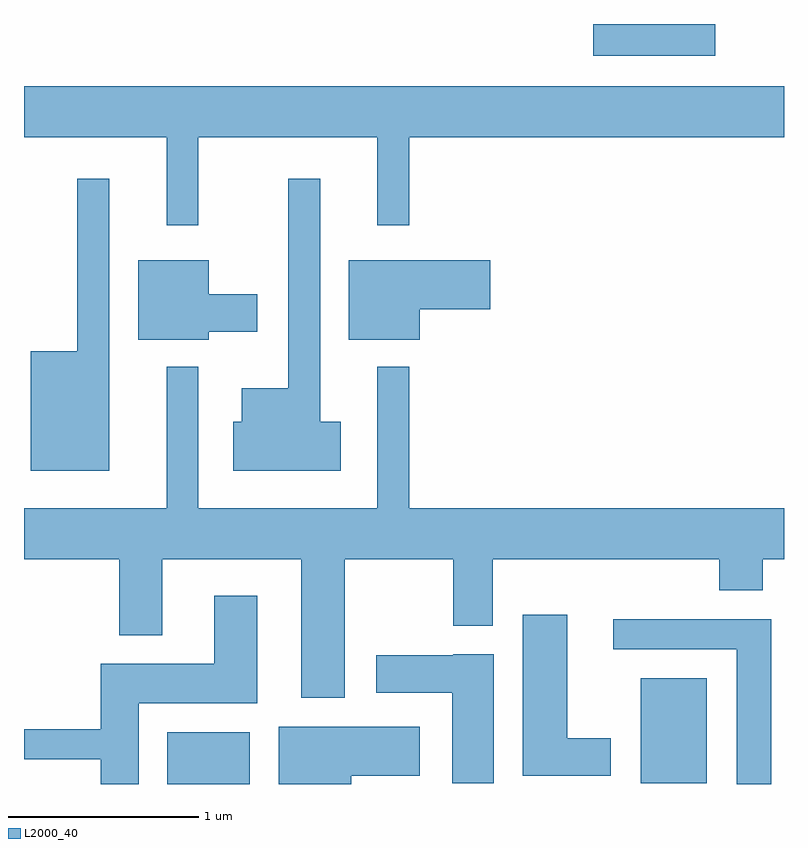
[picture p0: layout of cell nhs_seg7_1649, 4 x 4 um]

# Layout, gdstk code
import gdstk
lib = gdstk.Library(unit=1e-6, precision=1e-09)
def R(c, l, rs):  # rectangles x0, y0, x1, y1
    for r in rs: c.add(gdstk.rectangle(r[:2], r[2:], *l))
def P(c, l, *ps):  # polygons
    for p in ps: c.add(gdstk.Polygon(p, *l))
L2000_40 = (2000, 40)

nhs_seg7_1649 = lib.new_cell('nhs_seg7_1649')
R(nhs_seg7_1649, L2000_40, [(236.366,1704.252,236.799,1704.524), (238.856,1704.256,239.204,1704.809), (238.606,1708.086,239.249,1708.252)])
P(nhs_seg7_1649, L2000_40, [(236.529,1707.656),(237.471,1707.656),(237.471,1707.193),(237.639,1707.193),(237.639,1707.656),(239.611,1707.656),(239.611,1707.924),(235.611,1707.924),(235.611,1707.656),(236.361,1707.656),(236.361,1707.193),(236.529,1707.193)],
  [(237.279,1706.159),(237.169,1706.159),(237.169,1707.438),(237.001,1707.438),(237.001,1706.334),(236.756,1706.334),(236.756,1706.159),(236.711,1706.159),(236.711,1705.901),(237.279,1705.901)],
  [(236.059,1707.438),(235.891,1707.438),(235.891,1706.529),(235.646,1706.529),(235.646,1705.901),(236.059,1705.901)],
  [(237.694,1706.751),(238.064,1706.751),(238.064,1707.009),(237.321,1707.009),(237.321,1706.591),(237.694,1706.591)],
  [(236.584,1706.631),(236.839,1706.631),(236.839,1706.829),(236.584,1706.829),(236.584,1707.009),(236.211,1707.009),(236.211,1706.591),(236.584,1706.591)],
  [(237.299,1705.436),(237.871,1705.436),(237.871,1705.086),(238.079,1705.086),(238.079,1705.436),(239.271,1705.436),(239.271,1705.271),(239.499,1705.271),(239.499,1705.436),(239.611,1705.436),(239.611,1705.704),(237.639,1705.704),(237.639,1706.448),(237.471,1706.448),(237.471,1705.704),(236.529,1705.704),(236.529,1706.448),(236.361,1706.448),(236.361,1705.704),(235.611,1705.704),(235.611,1705.436),(236.111,1705.436),(236.111,1705.036),(236.339,1705.036),(236.339,1705.436),(237.071,1705.436),(237.071,1704.706),(237.299,1704.706)],
  [(236.214,1704.676),(236.839,1704.676),(236.839,1705.244),(236.611,1705.244),(236.611,1704.884),(236.016,1704.884),(236.016,1704.539),(235.611,1704.539),(235.611,1704.381),(236.016,1704.381),(236.016,1704.252),(236.214,1704.252)],
  [(238.699,1704.494),(238.469,1704.494),(238.469,1705.144),(238.236,1705.144),(238.236,1704.296),(238.699,1704.296)],
  [(239.544,1705.119),(238.713,1705.119),(238.713,1704.961),(239.361,1704.961),(239.361,1704.252),(239.544,1704.252)],
  [(238.084,1704.934),(237.87,1704.934),(237.87,1704.929),(237.466,1704.929),(237.466,1704.731),(237.866,1704.731),(237.866,1704.256),(238.084,1704.256)],
  [(237.334,1704.296),(237.694,1704.296),(237.694,1704.554),(236.951,1704.554),(236.951,1704.252),(237.334,1704.252)])

lib.write_gds('nhs_seg7_1649.gds')
